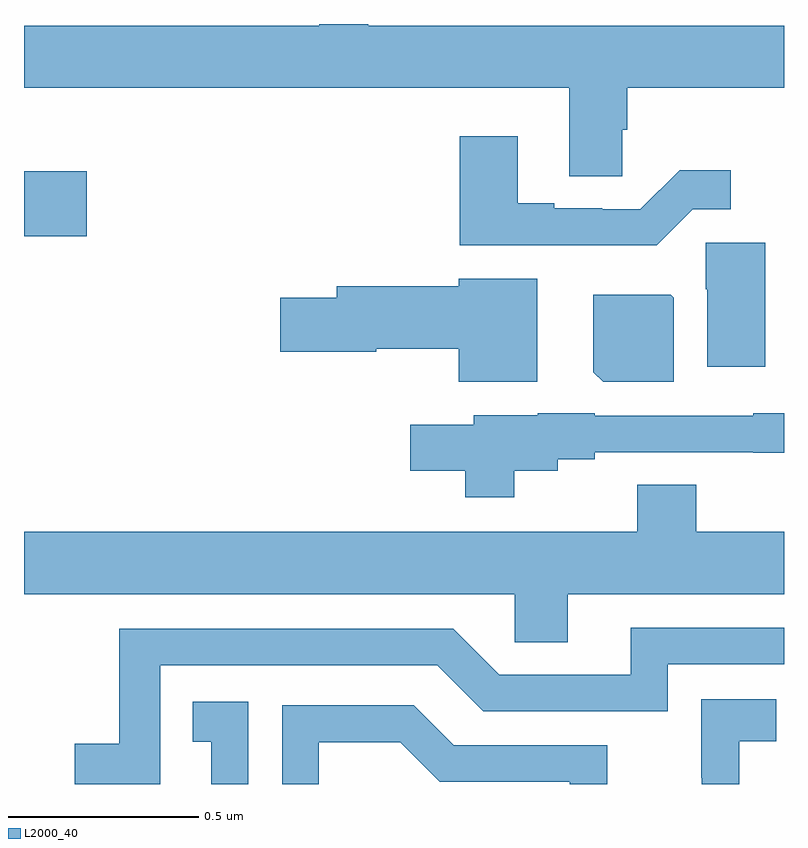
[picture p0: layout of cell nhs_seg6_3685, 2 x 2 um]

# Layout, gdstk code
import gdstk
lib = gdstk.Library(unit=1e-6, precision=1e-09)
def R(c, l, rs):  # rectangles x0, y0, x1, y1
    for r in rs: c.add(gdstk.rectangle(r[:2], r[2:], *l))
def P(c, l, *ps):  # polygons
    for p in ps: c.add(gdstk.Polygon(p, *l))
L2000_40 = (2000, 40)

nhs_seg6_3685 = lib.new_cell('nhs_seg6_3685')
R(nhs_seg6_3685, L2000_40, [(160,950.942,160.165,951.112)])
P(nhs_seg6_3685, L2000_40, [(161.574,951.222),(161.588,951.222),(161.588,951.332),(162,951.332),(162,951.496),(160.906,951.496),(160.906,951.5),(160.777,951.5),(160.777,951.496),(160,951.496),(160,951.332),(161.435,951.332),(161.435,951.1),(161.574,951.1)],
  [(161.76,951.012),(161.86,951.012),(161.86,951.115),(161.725,951.115),(161.622,951.012),(161.522,951.012),(161.522,951.015),(161.395,951.015),(161.395,951.028),(161.299,951.028),(161.299,951.205),(161.147,951.205),(161.147,950.918),(161.665,950.918)],
  [(161.95,950.925),(161.794,950.925),(161.794,950.802),(161.798,950.802),(161.798,950.598),(161.95,950.598)],
  [(161.35,950.83),(161.144,950.83),(161.144,950.81),(160.823,950.81),(160.823,950.78),(160.674,950.78),(160.674,950.638),(160.927,950.638),(160.927,950.645),(161.144,950.645),(161.144,950.558),(161.35,950.558)],
  [(161.71,950.78),(161.702,950.788),(161.498,950.788),(161.498,950.584),(161.524,950.558),(161.71,950.558)],
  [(161.29,950.324),(161.404,950.324),(161.404,950.354),(161.502,950.354),(161.502,950.373),(161.919,950.373),(161.919,950.372),(162,950.372),(162,950.476),(161.919,950.476),(161.919,950.469),(161.502,950.469),(161.502,950.476),(161.352,950.476),(161.352,950.47),(161.184,950.47),(161.184,950.446),(161.016,950.446),(161.016,950.324),(161.161,950.324),(161.161,950.255),(161.29,950.255)],
  [(161.431,950),(162,950),(162,950.164),(161.769,950.164),(161.769,950.288),(161.614,950.288),(161.614,950.164),(160,950.164),(160,950),(161.292,950),(161.292,949.873),(161.431,949.873)],
  [(160.359,949.812),(161.088,949.812),(161.208,949.692),(161.694,949.692),(161.694,949.815),(162,949.815),(162,949.911),(161.597,949.911),(161.597,949.788),(161.25,949.788),(161.13,949.908),(160.251,949.908),(160.251,949.606),(160.133,949.606),(160.133,949.5),(160.359,949.5)],
  [(161.882,949.613),(161.98,949.613),(161.98,949.723),(161.782,949.723),(161.782,949.517),(161.783,949.517),(161.783,949.5),(161.882,949.5)],
  [(160.59,949.717),(160.444,949.717),(160.444,949.611),(160.493,949.611),(160.493,949.5),(160.59,949.5)],
  [(160.776,949.61),(160.99,949.61),(161.094,949.506),(161.436,949.506),(161.436,949.5),(161.535,949.5),(161.535,949.602),(161.131,949.602),(161.026,949.707),(160.68,949.707),(160.68,949.5),(160.776,949.5)])

lib.write_gds('nhs_seg6_3685.gds')
